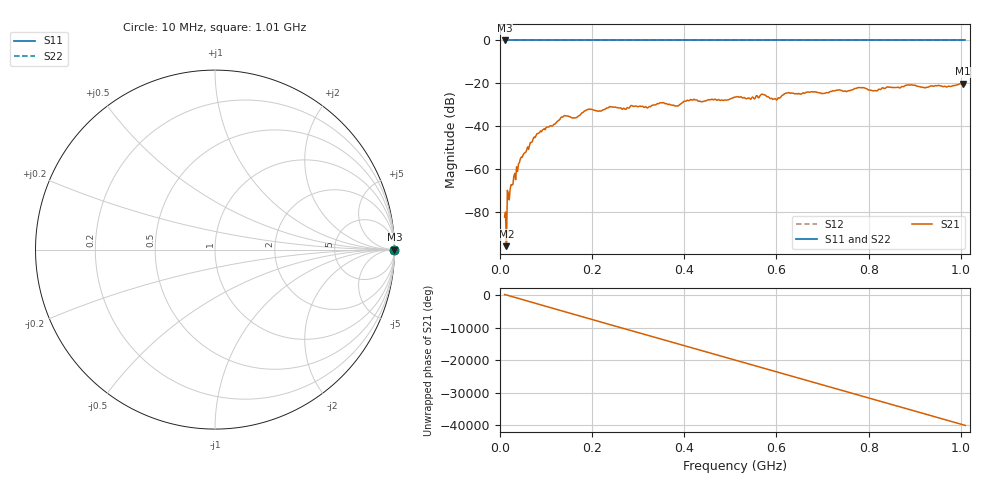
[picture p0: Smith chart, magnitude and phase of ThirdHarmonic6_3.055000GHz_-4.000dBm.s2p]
! 8/17/2025 8:53:05 AM
! C:\ANRITSUVNA\TEMP\TEMP.S2P
! CHANNEL.1
! TR.MEASUREMENT
! RAW.DATA
! RF.CORRECTION.OFF
! AVERAGING.OFF
! IF.BANDWIDTH: 5KHZ
! SWEEPTYPE:  FREQ.SWEEP(Linear)
! Reference Plane Port Info
! PORT:  PORT1  PORT2
! DISTANCE:  0  m  0  m
! TIME:  0  s  0  s
! PHASE.OFFSET:  0  deg.  0  deg.
! LOSS:  0  dB  0  dB
! REF.LOSS:  0  dB  0  dB
! REF.FREQ:  0  Hz  0  Hz
! Power Info
! POWER:  -20  dBm  -20  dBm
! EFF.POWER:  -20  dBm  -20  dBm
! SOURCE.ATTEN:  0  dB  0  dB
! TEST.ATTEN:  0  dB  0  dB
# GHZ S RI R 50.0
! FREQ.GHZ  S11RE  S11IM  S21RE  S21IM  S12RE  S12IM  S22RE  S22IM
!; PortSelection: Port_12
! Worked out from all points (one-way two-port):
!   501 points, 10 MHz to 1.01 GHz, reference 50 ohm
!   highest |S21| = -20.14 dB at 1.004 GHz (marker M1); lowest = -95.9 dB at 14 MHz (marker M2)
!   lowest |S11| = 0.0 dB at 10 MHz (marker M3)
!   |S11| at or under -10 dB: nowhere
!   |S22| runs from 0.0 to 0.0 dB; largest |S21 - S12| = 1.1
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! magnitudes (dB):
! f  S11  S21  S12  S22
! 10 MHz  0.0  -82.4  0.0  0.0
! 14 MHz  0.0  -95.9  0.0  0.0
! 20 MHz  0.0  -74.3  0.0  0.0
! 44 MHz  0.0  -55.4  0.0  0.0
! 76 MHz  0.0  -45.3  0.0  0.0
! 136 MHz  0.0  -35.8  0.0  0.0
! 162 MHz  0.0  -36.1  0.0  0.0
! 178 MHz  0.0  -33.7  0.0  0.0
! 194 MHz  0.0  -32.0  0.0  0.0
! 322 MHz  0.0  -31.2  0.0  0.0
! 344 MHz  0.0  -29.5  0.0  0.0
! 384 MHz  0.0  -30.5  0.0  0.0
! 410 MHz  0.0  -28.1  0.0  0.0
! 510 MHz  0.0  -26.4  0.0  0.0
! 570 MHz  0.0  -25.1  0.0  0.0
! 596 MHz  0.0  -27.2  0.0  0.0
! 624 MHz  0.0  -24.4  0.0  0.0
! 678 MHz  0.0  -23.9  0.0  0.0
! 814 MHz  0.0  -23.4  0.0  0.0
! 844 MHz  0.0  -21.8  0.0  0.0
! 1.004 GHz  0.0  -20.1  0.0  0.0
! 1.01 GHz  0.0  -20.7  0.0  0.0
